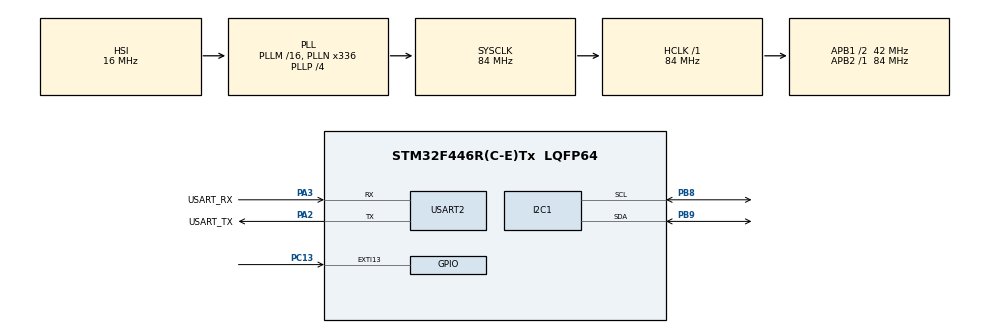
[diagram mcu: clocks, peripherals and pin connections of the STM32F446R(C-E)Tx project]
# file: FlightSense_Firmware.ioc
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Mcu.Family=STM32F4
Mcu.Name=STM32F446R(C-E)Tx
Mcu.Package=LQFP64
NUCLEO-F446RE.BUTTON=1
NUCLEO-F446RE.LD1=true
NVIC.EXTI15_10_IRQn=true\:0\:0\:false\:false\:true\:false\:true\:true
NVIC.PriorityGroup=NVIC_PRIORITYGROUP_0
PA13.GPIO_Label=TMS
PA13.Signal=SYS_JTMS-SWDIO
PA14.GPIO_Label=TCK
PA14.Signal=SYS_JTCK-SWCLK
PA2.GPIO_Label=USART_TX
PA2.Mode=Asynchronous
PA2.Signal=USART2_TX
PA3.GPIO_Label=USART_RX
PA3.Mode=Asynchronous
PA3.Signal=USART2_RX
PB3.GPIO_Label=SWO
PB3.Signal=SYS_JTDO-SWO
PB8.Mode=I2C
PB8.Signal=I2C1_SCL
PB9.Mode=I2C
PB9.Signal=I2C1_SDA
PC13.Signal=GPXTI13
PC14-OSC32_IN.Signal=RCC_OSC32_IN
PC15-OSC32_OUT.Signal=RCC_OSC32_OUT
PH0-OSC_IN.Signal=RCC_OSC_IN
PH1-OSC_OUT.Signal=RCC_OSC_OUT
ProjectManager.HeapSize=0x200
ProjectManager.StackSize=0x400
ProjectManager.TargetToolchain=STM32CubeIDE
RCC.AHBFreq_Value=84000000
RCC.APB1CLKDivider=RCC_HCLK_DIV2
RCC.APB1Freq_Value=42000000
RCC.APB1TimFreq_Value=84000000
RCC.APB2Freq_Value=84000000
RCC.APB2TimFreq_Value=84000000
RCC.CortexFreq_Value=84000000
RCC.FLatency-AdvancedSettings=FLASH_LATENCY_2
RCC.HCLKFreq_Value=84000000
RCC.HSE_VALUE=8000000
RCC.HSI_VALUE=16000000
RCC.LSE_VALUE=32768
RCC.PLLN=336
RCC.PLLP=RCC_PLLP_DIV4
RCC.SYSCLKFreq_VALUE=84000000
RCC.SYSCLKSource=RCC_SYSCLKSOURCE_PLLCLK
RCC.USBFreq_Value=168000000
RCC.VCOOutputFreq_Value=336000000
USART2.VirtualMode=VM_ASYNC
VP_NUCLEO-F446RE_VS_BSP_COMMON.Mode=COMMON
board=NUCLEO-F446RE

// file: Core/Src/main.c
/* USER CODE BEGIN Header */
/**
  ******************************************************************************
  * @file           : main.c
  * @brief          : Main program body
  ******************************************************************************
  * @attention
  *
  * Copyright (c) 2026 STMicroelectronics.
  * All rights reserved.
  *
  * This software is licensed under terms that can be found in the LICENSE file
  * in the root directory of this software component.
  * If no LICENSE file comes with this software, it is provided AS-IS.
  *
  ******************************************************************************
  */
/* USER CODE END Header */

/* USER CODE BEGIN Includes */
#include "main.h"
#include <stdio.h>
#include <math.h>
#include <stdlib.h>
/* USER CODE END Includes */

I2C_HandleTypeDef hi2c1;

UART_HandleTypeDef huart2;

/* USER CODE BEGIN PV */
	uint8_t bmp_initialized = 0;
	uint8_t mpu_initialized = 0;

	HAL_StatusTypeDef mpu_read_status = HAL_ERROR;

	uint8_t bmp_chip_id = 0;
	uint8_t bmp_address = 0x76 << 1;

	float temperature_c = 0.0f;
	float humidity_percent = 0.0f;
	float pressure_hpa = 0.0f;

	float reference_pressure_hpa = 0.0f;
	float altitude_m = 0.0f;

	float accel_x = 0.0f;
	float accel_y = 0.0f;
	float accel_z = 0.0f;
	float gyro_x = 0.0f;
	float gyro_y = 0.0f;
	float gyro_z = 0.0f;

	uint8_t aht_data[7];

	uint8_t aht_found = 0;
	uint8_t bmp_found = 0;
	uint8_t mpu_found = 0;

/* USER CODE END PV */

void SystemClock_Config(void);
static void MX_GPIO_Init(void);
static void MX_I2C1_Init(void);
static void MX_USART2_UART_Init(void);

/* USER CODE BEGIN 0 */
typedef struct
{
    uint16_t T1;
    int16_t T2, T3;
    uint16_t P1;
    int16_t P2, P3, P4, P5, P6, P7, P8, P9;
} BMP280_Calibration;

BMP280_Calibration bmp_cal;
int32_t bmp_t_fine;

HAL_StatusTypeDef BMP280_Init(void)
{
    uint8_t calibration[24];
    uint8_t config = 0x27;

    // Read factory calibration coefficients
    if (HAL_I2C_Mem_Read(&hi2c1, bmp_address,
                        0x88, I2C_MEMADD_SIZE_8BIT,
                        calibration, 24, 100) != HAL_OK)
        return HAL_ERROR;

    bmp_cal.T1 = calibration[0] | (calibration[1] << 8);
    bmp_cal.T2 = (int16_t)(calibration[2] | (calibration[3] << 8));
    bmp_cal.T3 = (int16_t)(calibration[4] | (calibration[5] << 8));

    bmp_cal.P1 = calibration[6] | (calibration[7] << 8);
    bmp_cal.P2 = (int16_t)(calibration[8] | (calibration[9] << 8));
    bmp_cal.P3 = (int16_t)(calibration[10] | (calibration[11] << 8));
    bmp_cal.P4 = (int16_t)(calibration[12] | (calibration[13] << 8));
    bmp_cal.P5 = (int16_t)(calibration[14] | (calibration[15] << 8));
    bmp_cal.P6 = (int16_t)(calibration[16] | (calibration[17] << 8));
    bmp_cal.P7 = (int16_t)(calibration[18] | (calibration[19] << 8));
    bmp_cal.P8 = (int16_t)(calibration[20] | (calibration[21] << 8));
    bmp_cal.P9 = (int16_t)(calibration[22] | (calibration[23] << 8));

    if (bmp_cal.P1 == 0)
        return HAL_ERROR;

    // Temperature x1, pressure x1, normal mode
    return HAL_I2C_Mem_Write(&hi2c1, bmp_address,
                            0xF4, I2C_MEMADD_SIZE_8BIT,
                            &config, 1, 100);
}

HAL_StatusTypeDef BMP280_ReadPressure(float *pressure)
{
    uint8_t data[6];

    if (HAL_I2C_Mem_Read(&hi2c1, bmp_address,
                        0xF7, I2C_MEMADD_SIZE_8BIT,
                        data, 6, 100) != HAL_OK)
        return HAL_ERROR;

    int32_t adc_P = ((uint32_t)data[0] << 12) |
                    ((uint32_t)data[1] << 4) |
                    (data[2] >> 4);

    int32_t adc_T = ((uint32_t)data[3] << 12) |
                    ((uint32_t)data[4] << 4) |
                    (data[5] >> 4);

    int32_t var1 = ((((adc_T >> 3) -
                     ((int32_t)bmp_cal.T1 << 1))) *
                     (int32_t)bmp_cal.T2) >> 11;

    int32_t var2 = (((((adc_T >> 4) -
                      (int32_t)bmp_cal.T1) *
                     ((adc_T >> 4) -
                      (int32_t)bmp_cal.T1)) >> 12) *
                     (int32_t)bmp_cal.T3) >> 14;

    bmp_t_fine = var1 + var2;

    int64_t pvar1 = (int64_t)bmp_t_fine - 128000;
    int64_t pvar2 = pvar1 * pvar1 * bmp_cal.P6;
    pvar2 += (pvar1 * bmp_cal.P5) << 17;
    pvar2 += ((int64_t)bmp_cal.P4) << 35;

    pvar1 = ((pvar1 * pvar1 * bmp_cal.P3) >> 8) +
            ((pvar1 * bmp_cal.P2) << 12);

    pvar1 = (((((int64_t)1) << 47) + pvar1) *
             bmp_cal.P1) >> 33;

    if (pvar1 == 0)
        return HAL_ERROR;

    int64_t p = 1048576 - adc_P;
    p = (((p << 31) - pvar2) * 3125) / pvar1;

    pvar1 = (bmp_cal.P9 * (p >> 13) * (p >> 13)) >> 25;
    pvar2 = (bmp_cal.P8 * p) >> 19;

    p = ((p + pvar1 + pvar2) >> 8) +
        (((int64_t)bmp_cal.P7) << 4);

    *pressure = (float)p / 25600.0f;

    return HAL_OK;
}
HAL_StatusTypeDef AHT20_Read(float *temperature, float *humidity)
{
    uint8_t trigger[3] = {0xAC, 0x33, 0x00};
    uint8_t data[7];

    if (HAL_I2C_Master_Transmit(&hi2c1, 0x38 << 1,
                                trigger, 3, 100) != HAL_OK)
        return HAL_ERROR;

    HAL_Delay(80);

    if (HAL_I2C_Master_Receive(&hi2c1, 0x38 << 1,
                               data, 7, 100) != HAL_OK)
        return HAL_ERROR;

    if (data[0] & 0x80)
        return HAL_BUSY;

    uint32_t raw_humidity =
        ((uint32_t)data[1] << 12) |
        ((uint32_t)data[2] << 4) |
        (data[3] >> 4);

    uint32_t raw_temperature =
        ((uint32_t)(data[3] & 0x0F) << 16) |
        ((uint32_t)data[4] << 8) |
        data[5];

    *humidity = (raw_humidity * 100.0f) / 1048576.0f;
    *temperature = (raw_temperature * 200.0f) / 1048576.0f - 50.0f;

    return HAL_OK;
}

void FlightSense_SendTelemetry(void)
{
    char uart_buffer[320];

    // Convert floats to integers with two decimal places
    long values[10] = {
        (long)(temperature_c * 100.0f),
        (long)(humidity_percent * 100.0f),
        (long)(pressure_hpa * 100.0f),
        (long)(altitude_m * 100.0f),
        (long)(accel_x * 100.0f),
        (long)(accel_y * 100.0f),
        (long)(accel_z * 100.0f),
        (long)(gyro_x * 100.0f),
        (long)(gyro_y * 100.0f),
        (long)(gyro_z * 100.0f)
    };

    const char *names[10] = {
        "temperature", "humidity", "pressure", "altitude",
        "accel_x", "accel_y", "accel_z",
        "gyro_x", "gyro_y", "gyro_z"
    };

    int offset = 0;

    uart_buffer[offset++] = '{';

    for (int i = 0; i < 10; i++)
    {
        long value = values[i];
        long magnitude = labs(value);

        int written = snprintf(
            uart_buffer + offset,
            sizeof(uart_buffer) - (size_t)offset,
            "\"%s\":%s%ld.%02ld%s",
            names[i],
            value < 0 ? "-" : "",
            magnitude / 100,
            magnitude % 100,
            i < 9 ? "," : "}\r\n"
        );

        if (written < 0 ||
            written >= (int)(sizeof(uart_buffer) - (size_t)offset))
        {
            return;
        }

        offset += written;
    }

    HAL_UART_Transmit(
        &huart2,
        (uint8_t *)uart_buffer,
        (uint16_t)offset,
        100
    );
}

HAL_StatusTypeDef MPU6050_Init(void)
{
    uint8_t who_am_i = 0;
    uint8_t wake_up = 0x00;

    // Read WHO_AM_I register (0x75)
    if (HAL_I2C_Mem_Read(
            &hi2c1,
            0x68 << 1,
            0x75,
            I2C_MEMADD_SIZE_8BIT,
            &who_am_i,
            1,
            100) != HAL_OK)
    {
        return HAL_ERROR;
    }

    // Expected MPU6050 identity: 0x68
    if (who_am_i != 0x68)
    {
        return HAL_ERROR;
    }

    // Wake up MPU6050 (disable sleep mode)
    return HAL_I2C_Mem_Write(
        &hi2c1,
        0x68 << 1,
        0x6B,
        I2C_MEMADD_SIZE_8BIT,
        &wake_up,
        1,
        100
    );
}

HAL_StatusTypeDef MPU6050_Read(void)
{
       uint8_t data[14];

       // Read accelerometer and gyroscope registers
       if (HAL_I2C_Mem_Read(
               &hi2c1,
               0x68 << 1,
               0x3B,
               I2C_MEMADD_SIZE_8BIT,
               data,
               14,
               100) != HAL_OK)
       {
           return HAL_ERROR;
       }

       // Combine high and low bytes
       int16_t ax = (int16_t)((data[0] << 8) | data[1]);
       int16_t ay = (int16_t)((data[2] << 8) | data[3]);
       int16_t az = (int16_t)((data[4] << 8) | data[5]);

       // Bytes 6-7 contain internal sensor temperature
       int16_t gx = (int16_t)((data[8] << 8) | data[9]);
       int16_t gy = (int16_t)((data[10] << 8) | data[11]);
       int16_t gz = (int16_t)((data[12] << 8) | data[13]);

       // Default accelerometer range: +/- 2g
       accel_x = ax / 16384.0f;
       accel_y = ay / 16384.0f;
       accel_z = az / 16384.0f;

       // Default gyroscope range: +/- 250 deg/s
       gyro_x = gx / 131.0f;
       gyro_y = gy / 131.0f;
       gyro_z = gz / 131.0f;

       return HAL_OK;
   }
/* USER CODE END 0 */

int main(void)
{

  /* MCU Configuration--------------------------------------------------------*/

  /* Reset of all peripherals, Initializes the Flash interface and the Systick. */
  HAL_Init();

  /* Configure the system clock */
  SystemClock_Config();

  /* Initialize all configured peripherals */
  MX_GPIO_Init();
  MX_I2C1_Init();
  MX_USART2_UART_Init();
  /* USER CODE BEGIN 2 */
  char uart_buffer[160];
  /* USER CODE END 2 */

  /* Initialize leds */
  BSP_LED_Init(LED2);

  /* Initialize USER push-button, will be used to trigger an interrupt each time it's pressed.*/
  BSP_PB_Init(BUTTON_USER, BUTTON_MODE_EXTI);

  /* Infinite loop */
  while (1)
  {

    /* USER CODE BEGIN 3 */

      // Check AHT20
      aht_found = (
          HAL_I2C_IsDeviceReady(
              &hi2c1, 0x38 << 1, 3, 100
          ) == HAL_OK
      );

      // Check BMP280
      bmp_found = (
          HAL_I2C_IsDeviceReady(
              &hi2c1, 0x76 << 1, 3, 100
          ) == HAL_OK
      ) || (
          HAL_I2C_IsDeviceReady(
              &hi2c1, 0x77 << 1, 3, 100
          ) == HAL_OK
      );

      mpu_found = (
          HAL_I2C_IsDeviceReady(
              &hi2c1,
              0x68 << 1,
              3,
              100
          ) == HAL_OK
      );

      if (aht_found)
      {
          AHT20_Read(&temperature_c, &humidity_percent);
      }

      if (bmp_found)
      {
          if (HAL_I2C_IsDeviceReady(&hi2c1, 0x76 << 1, 3, 100) == HAL_OK)
              bmp_address = 0x76 << 1;
          else
              bmp_address = 0x77 << 1;

          HAL_I2C_Mem_Read(&hi2c1, bmp_address,
                           0xD0, I2C_MEMADD_SIZE_8BIT,
                           &bmp_chip_id, 1, 100);
      }

      if (bmp_found)
      {
          if (!bmp_initialized)
          {
              bmp_initialized = (BMP280_Init() == HAL_OK);
          }

          if (bmp_initialized)
          {
              if (BMP280_ReadPressure(&pressure_hpa) == HAL_OK)
              {
                  if (reference_pressure_hpa == 0.0f)
                  {
                      reference_pressure_hpa = pressure_hpa;
                  }

                  altitude_m = 44330.0f *
                      (1.0f - powf(pressure_hpa / reference_pressure_hpa,
                                    0.1903f));
              }
          }
      }
      else
      {
          bmp_initialized = 0;
      }

      if (aht_found && bmp_found)
      {
          BSP_LED_Toggle(LED2);
          HAL_Delay(250);
      }
      else
      {
          BSP_LED_Toggle(LED2);
          HAL_Delay(1000);
      }

      if (mpu_found && !mpu_initialized)
      {
          mpu_initialized = (MPU6050_Init() == HAL_OK);
      }

      if (mpu_initialized)
      {
    	  mpu_read_status = MPU6050_Read();
      }

      FlightSense_SendTelemetry();

  }
  /* USER CODE END 3 */
}

void SystemClock_Config(void)
{
  RCC_OscInitTypeDef RCC_OscInitStruct = {0};
  RCC_ClkInitTypeDef RCC_ClkInitStruct = {0};

  /** Configure the main internal regulator output voltage
  */
  __HAL_RCC_PWR_CLK_ENABLE();
  __HAL_PWR_VOLTAGESCALING_CONFIG(PWR_REGULATOR_VOLTAGE_SCALE3);

  /** Initializes the RCC Oscillators according to the specified parameters
  * in the RCC_OscInitTypeDef structure.
  */
  RCC_OscInitStruct.OscillatorType = RCC_OSCILLATORTYPE_HSI;
  RCC_OscInitStruct.HSIState = RCC_HSI_ON;
  RCC_OscInitStruct.HSICalibrationValue = RCC_HSICALIBRATION_DEFAULT;
  RCC_OscInitStruct.PLL.PLLState = RCC_PLL_ON;
  RCC_OscInitStruct.PLL.PLLSource = RCC_PLLSOURCE_HSI;
  RCC_OscInitStruct.PLL.PLLM = 16;
  RCC_OscInitStruct.PLL.PLLN = 336;
  RCC_OscInitStruct.PLL.PLLP = RCC_PLLP_DIV4;
  RCC_OscInitStruct.PLL.PLLQ = 2;
  RCC_OscInitStruct.PLL.PLLR = 2;
  if (HAL_RCC_OscConfig(&RCC_OscInitStruct) != HAL_OK)
  {
    Error_Handler();
  }

  /** Initializes the CPU, AHB and APB buses clocks
  */
  RCC_ClkInitStruct.ClockType = RCC_CLOCKTYPE_HCLK|RCC_CLOCKTYPE_SYSCLK
                              |RCC_CLOCKTYPE_PCLK1|RCC_CLOCKTYPE_PCLK2;
  RCC_ClkInitStruct.SYSCLKSource = RCC_SYSCLKSOURCE_PLLCLK;
  RCC_ClkInitStruct.AHBCLKDivider = RCC_SYSCLK_DIV1;
  RCC_ClkInitStruct.APB1CLKDivider = RCC_HCLK_DIV2;
  RCC_ClkInitStruct.APB2CLKDivider = RCC_HCLK_DIV1;

  if (HAL_RCC_ClockConfig(&RCC_ClkInitStruct, FLASH_LATENCY_2) != HAL_OK)
  {
    Error_Handler();
  }
}

static void MX_I2C1_Init(void)
{

  hi2c1.Instance = I2C1;
  hi2c1.Init.ClockSpeed = 100000;
  hi2c1.Init.DutyCycle = I2C_DUTYCYCLE_2;
  hi2c1.Init.OwnAddress1 = 0;
  hi2c1.Init.AddressingMode = I2C_ADDRESSINGMODE_7BIT;
  hi2c1.Init.DualAddressMode = I2C_DUALADDRESS_DISABLE;
  hi2c1.Init.OwnAddress2 = 0;
  hi2c1.Init.GeneralCallMode = I2C_GENERALCALL_DISABLE;
  hi2c1.Init.NoStretchMode = I2C_NOSTRETCH_DISABLE;
  if (HAL_I2C_Init(&hi2c1) != HAL_OK)
  {
    Error_Handler();
  }

}

static void MX_USART2_UART_Init(void)
{

  huart2.Instance = USART2;
  huart2.Init.BaudRate = 115200;
  huart2.Init.WordLength = UART_WORDLENGTH_8B;
  huart2.Init.StopBits = UART_STOPBITS_1;
  huart2.Init.Parity = UART_PARITY_NONE;
  huart2.Init.Mode = UART_MODE_TX_RX;
  huart2.Init.HwFlowCtl = UART_HWCONTROL_NONE;
  huart2.Init.OverSampling = UART_OVERSAMPLING_16;
  if (HAL_UART_Init(&huart2) != HAL_OK)
  {
    Error_Handler();
  }

}

static void MX_GPIO_Init(void)
{

  /* GPIO Ports Clock Enable */
  __HAL_RCC_GPIOC_CLK_ENABLE();
  __HAL_RCC_GPIOH_CLK_ENABLE();
  __HAL_RCC_GPIOA_CLK_ENABLE();
  __HAL_RCC_GPIOB_CLK_ENABLE();

}

void Error_Handler(void)
{
  __disable_irq();
  while (1)
  {
  }
}
